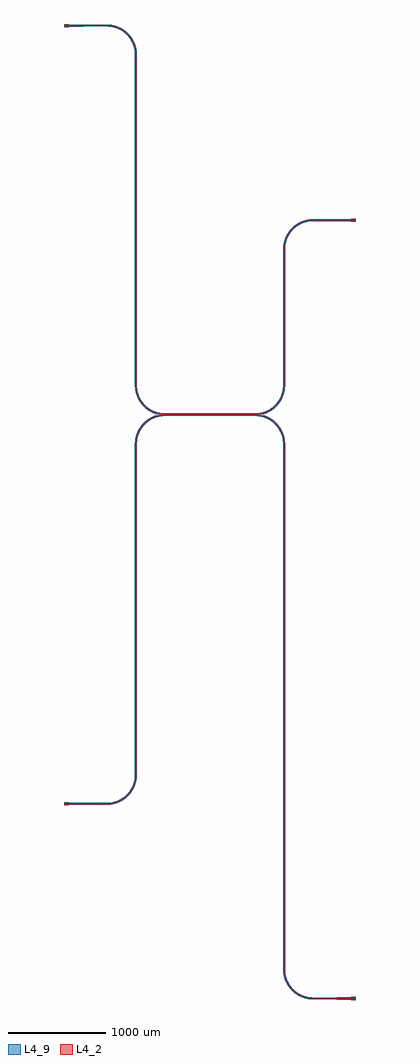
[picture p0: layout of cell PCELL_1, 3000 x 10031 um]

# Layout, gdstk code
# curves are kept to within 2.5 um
import gdstk
lib = gdstk.Library(unit=1e-6, precision=5e-09)
def R(c, l, rs):  # rectangles x0, y0, x1, y1
    for r in rs: c.add(gdstk.rectangle(r[:2], r[2:], *l))
def P(c, l, *ps):  # polygons
    for p in ps: c.add(gdstk.Polygon(p, *l))
L4_2 = (4, 2)
L4_9 = (4, 9)

transition_wire_wire_lin = lib.new_cell('TRANSITION_WIRE_WIRE_LINEAR_1')
P(transition_wire_wire_lin, L4_2, [(50,7.5),(50,-7.5),(350,-1.9),(350,1.9)])
P(transition_wire_wire_lin, L4_9, [(50,15.5),(50,7.5),(50,-7.5),(50,-15.5),(350,-9.9),(350,-1.9),(350,1.9),(350,9.9)])

c_transition_wire_wire_lin = lib.new_cell('TRANSITION_WIRE_WIRE_LINEAR_2')
P(c_transition_wire_wire_lin, L4_2, [(50,1.9),(50,-1.9),(350,-7.5),(350,7.5)])
P(c_transition_wire_wire_lin, L4_9, [(50,9.9),(50,1.9),(50,-1.9),(50,-9.9),(350,-15.5),(350,-7.5),(350,7.5),(350,15.5)])

dongbo = lib.new_cell('Dongbo')
R(dongbo, L4_2, [(0,-7.5,50,7.5)])
P(dongbo, L4_9, [(0,-15.5),(50,-15.5),(50,-7.5),(50,7.5),(50,15.5),(0,15.5),(0,7.5),(0,-7.5)])

my_dircoup_2_wg1a = lib.new_cell('my_dircoup_2_wg1a')
P(my_dircoup_2_wg1a, L4_2, [(-759.6,-304.65),(-758.875,-281.855),(-756.7,-261.165),(-751.96,-235.59),(-746.575,-215.495),(-737.895,-190.98),(-729.43,-171.97),(-719.66,-153.6),(-708.635,-135.955),(-696.405,-119.12),(-683.03,-103.18),(-668.58,-88.215),(-649.1,-70.985),(-632.485,-58.46),(-615.035,-47.13),(-596.835,-37.04),(-573.17,-26.255),(-553.62,-19.14),(-528.56,-12.19),(-502.985,-7.45),(-477.1,-4.96),(-461.49,-4.55),(0,-4.55),(0,-0.75),(-472.035,-0.935),(-498.29,-3),(-524.27,-7.345),(-549.765,-13.94),(-574.595,-22.735),(-598.56,-33.655),(-616.99,-43.87),(-634.665,-55.35),(-655.56,-71.38),(-674.975,-89.175),(-689.345,-104.585),(-702.61,-120.96),(-714.695,-138.225),(-725.55,-156.285),(-737.3,-179.855),(-745.195,-199.395),(-753.115,-224.515),(-758.815,-250.225),(-762.25,-276.34),(-763.4,-304.65)])
P(my_dircoup_2_wg1a, L4_9, [(-751.6,-304.65),(-748.775,-262.275),(-740.36,-222.69),(-726.52,-184.655),(-704.8,-144.65),(-677.085,-108.535),(-647.97,-80.42),(-615.23,-56.63),(-574.85,-35.61),(-526.76,-19.985),(-471.625,-12.725),(0,-12.55),(0,7.25),(-472.315,7.06),(-531.21,-0.69),(-582.59,-17.385),(-625.72,-39.84),(-664.815,-68.765),(-702.34,-107.625),(-729.88,-147.7),(-754.515,-201.755),(-768.385,-259.52),(-771.4,-304.65)])

my_dircoup_2_wg2a = lib.new_cell('my_dircoup_2_wg2a')
P(my_dircoup_2_wg2a, L4_2, [(-763.4,304.65),(-762.68,281.82),(-760.525,261.09),(-755.83,235.47),(-750.495,215.325),(-743.78,195.595),(-733.505,171.66),(-723.815,153.205),(-712.88,135.465),(-700.75,118.52),(-687.475,102.455),(-673.125,87.34),(-653.78,69.9),(-633,54.19),(-615.45,42.95),(-592.49,30.645),(-573.41,22.26),(-548.825,13.655),(-523.59,7.205),(-497.89,2.95),(-471.92,0.93),(0,0.75),(0,4.55),(-461.49,4.55),(-476.93,4.95),(-497.43,6.725),(-522.805,10.92),(-547.725,17.295),(-572.005,25.79),(-590.84,34.07),(-613.51,46.22),(-630.84,57.32),(-647.36,69.585),(-663,82.965),(-681.185,101.15),(-694.565,116.79),(-706.83,133.31),(-717.93,150.64),(-730.08,173.31),(-738.36,192.145),(-745.325,211.51),(-750.94,231.31),(-756.01,256.525),(-758.89,282.085),(-759.6,304.65)])
P(my_dircoup_2_wg2a, L4_9, [(-771.4,304.65),(-768.45,259.99),(-758.155,213.01),(-742.99,173.03),(-719.545,131.035),(-693.465,97.15),(-658.875,63.73),(-619.53,36.07),(-576.375,14.83),(-525.235,-0.625),(-472.195,-7.065),(0,-7.25),(0,12.55),(-471.515,12.725),(-521.16,18.75),(-569.035,33.22),(-605.1,50.585),(-638.43,72.755),(-668.395,99.295),(-694.415,129.71),(-720.66,172.29),(-737.71,213.955),(-748.105,257.765),(-751.6,304.65)])

my_dircoup_2_wg1b = lib.new_cell('my_dircoup_2_wg1b')
P(my_dircoup_2_wg1b, L4_2, [(0,-4.55),(471.79,-4.73),(497.43,-6.725),(522.805,-10.92),(547.725,-17.295),(572.005,-25.79),(590.84,-34.07),(613.51,-46.22),(630.84,-57.32),(647.36,-69.585),(663,-82.965),(681.185,-101.15),(694.565,-116.79),(706.83,-133.31),(717.93,-150.64),(730.08,-173.31),(738.36,-192.145),(745.325,-211.51),(750.94,-231.31),(756.01,-256.525),(758.89,-282.085),(759.6,-304.65),(763.4,-304.65),(762.68,-281.82),(760.525,-261.09),(755.83,-235.47),(750.495,-215.325),(743.78,-195.595),(733.505,-171.66),(723.815,-153.205),(712.88,-135.465),(700.75,-118.52),(687.475,-102.455),(673.125,-87.34),(653.78,-69.9),(633,-54.19),(615.45,-42.95),(592.49,-30.645),(573.41,-22.26),(548.825,-13.655),(523.59,-7.205),(497.89,-2.95),(471.92,-0.93),(0,-0.75)])
P(my_dircoup_2_wg1b, L4_9, [(0,-12.55),(471.515,-12.725),(521.16,-18.75),(564.37,-31.4),(600.73,-48.145),(634.44,-69.735),(664.855,-95.755),(691.395,-125.72),(716.005,-163.42),(736.135,-209.205),(748.105,-257.765),(751.6,-304.65),(771.4,-304.65),(768.45,-259.99),(758.155,-213.01),(740.71,-168.19),(716.545,-126.605),(686.23,-89.265),(650.51,-57.06),(614.905,-33.38),(571.39,-12.89),(514.73,2.645),(461.545,7.25),(0,7.25)])

my_dircoup_2_wg2b = lib.new_cell('my_dircoup_2_wg2b')
P(my_dircoup_2_wg2b, L4_2, [(0,0.75),(471.92,0.93),(497.89,2.95),(523.59,7.205),(548.825,13.655),(573.41,22.26),(592.49,30.645),(615.45,42.95),(633,54.19),(653.78,69.9),(673.125,87.34),(687.475,102.455),(700.75,118.52),(712.88,135.465),(723.815,153.205),(733.505,171.66),(743.78,195.595),(750.495,215.325),(755.83,235.47),(760.525,261.09),(762.68,281.82),(763.4,304.65),(759.6,304.65),(758.89,282.085),(756.01,256.525),(750.94,231.31),(745.325,211.51),(738.36,192.145),(730.08,173.31),(717.93,150.64),(706.83,133.31),(694.565,116.79),(681.185,101.15),(663,82.965),(647.36,69.585),(630.84,57.32),(613.51,46.22),(590.84,34.07),(572.005,25.79),(547.725,17.295),(522.805,10.92),(497.43,6.725),(476.93,4.95),(461.49,4.55),(0,4.55)])
P(my_dircoup_2_wg2b, L4_9, [(0,-7.25),(472.195,-7.065),(525.235,-0.625),(576.375,14.83),(619.53,36.07),(658.875,63.73),(693.465,97.15),(719.545,131.035),(742.99,173.03),(758.155,213.01),(768.45,259.99),(771.4,304.65),(751.6,304.65),(748.105,257.765),(737.71,213.955),(720.66,172.29),(694.415,129.71),(668.395,99.295),(638.43,72.755),(605.1,50.585),(569.035,33.22),(521.16,18.75),(471.515,12.725),(0,12.55)])

my_dircoup_2 = lib.new_cell('my_dircoup_2')
my_dircoup_2.add(gdstk.Reference(my_dircoup_2_wg1a, (0,0)))
my_dircoup_2.add(gdstk.Reference(my_dircoup_2_wg2a, (0,0)))
my_dircoup_2.add(gdstk.Reference(my_dircoup_2_wg1b, (0,0)))
my_dircoup_2.add(gdstk.Reference(my_dircoup_2_wg2b, (0,0)))

pcell_1_link1 = lib.new_cell('PCELL_1_link1')
P(pcell_1_link1, L4_2, [(2263.4,304.65),(2263.4,1699.99),(2263.8,1715.43),(2264.995,1730.82),(2267.83,1751.2),(2270.875,1766.335),(2277.675,1791.14),(2282.77,1805.71),(2288.615,1819.995),(2295.195,1833.955),(2302.485,1847.56),(2310.47,1860.77),(2319.13,1873.55),(2328.435,1885.86),(2338.37,1897.675),(2348.9,1908.96),(2360,1919.685),(2371.645,1929.82),(2383.795,1939.34),(2405.085,1953.77),(2418.43,1961.525),(2432.16,1968.58),(2455.79,1978.73),(2480.21,1986.805),(2505.235,1992.74),(2530.68,1996.505),(2551.21,1997.92),(2650,1998.1),(2650,2001.9),(2551.08,2001.72),(2530.29,2000.28),(2509.645,1997.415),(2494.32,1994.33),(2479.175,1990.46),(2454.445,1982.28),(2430.51,1972.005),(2416.605,1964.86),(2403.09,1957.005),(2390,1948.46),(2377.37,1939.25),(2365.235,1929.395),(2353.625,1918.93),(2335.525,1900.195),(2325.465,1888.23),(2316.04,1875.76),(2301.8,1853.95),(2294.18,1840.3),(2287.275,1826.275),(2281.11,1811.91),(2275.69,1797.25),(2271.04,1782.325),(2267.17,1767.18),(2264.085,1751.855),(2261.8,1736.39),(2260.005,1715.625),(2259.6,1700.01),(2259.6,304.65)])
P(pcell_1_link1, L4_9, [(2271.4,304.65),(2271.4,1699.955),(2278.675,1764.555),(2295.94,1816.775),(2322.755,1864.795),(2358.145,1906.895),(2400.85,1941.555),(2449.33,1967.535),(2506.745,1984.885),(2551.485,1989.925),(2650,1990.1),(2650,2009.9),(2550.805,2009.715),(2503.01,2004.33),(2451.61,1989.76),(2398.895,1963.815),(2352.025,1928.38),(2309.535,1880.42),(2277.815,1824.745),(2259.37,1768.96),(2251.6,1700.045),(2251.6,304.65)])

pcell_1_link2 = lib.new_cell('PCELL_1_link2')
P(pcell_1_link2, L4_2, [(2259.6,-304.65),(2259.6,-5700.01),(2260.32,-5720.83),(2261.8,-5736.39),(2264.085,-5751.855),(2267.17,-5767.18),(2271.04,-5782.325),(2275.69,-5797.25),(2283.08,-5816.735),(2289.495,-5830.99),(2296.64,-5844.895),(2304.495,-5858.41),(2313.04,-5871.5),(2322.25,-5884.13),(2335.525,-5900.195),(2346.19,-5911.625),(2361.305,-5925.975),(2373.27,-5936.035),(2385.74,-5945.46),(2398.68,-5954.23),(2412.055,-5962.315),(2425.835,-5969.7),(2439.975,-5976.36),(2454.445,-5982.28),(2469.2,-5987.445),(2484.2,-5991.835),(2499.41,-5995.445),(2525.11,-5999.7),(2551.08,-6001.72),(2650,-6001.9),(2650,-5998.1),(2546.07,-5997.7),(2520.465,-5995.26),(2495.165,-5990.625),(2470.36,-5983.825),(2455.79,-5978.73),(2441.505,-5972.885),(2427.545,-5966.305),(2413.94,-5959.015),(2400.73,-5951.03),(2387.95,-5942.37),(2375.64,-5933.065),(2360,-5919.685),(2348.9,-5908.96),(2338.37,-5897.675),(2328.435,-5885.86),(2319.13,-5873.55),(2307.73,-5856.415),(2299.975,-5843.07),(2292.92,-5829.34),(2286.585,-5815.265),(2279.29,-5796.025),(2274.695,-5781.29),(2270.875,-5766.335),(2267.83,-5751.2),(2265.575,-5735.93),(2264.11,-5720.565),(2263.4,-5699.99),(2263.4,-304.65)])
P(pcell_1_link2, L4_9, [(2251.6,-304.65),(2252.34,-5721.38),(2264.845,-5789.64),(2292.23,-5853.405),(2329.535,-5905.5),(2381.08,-5951.965),(2436.755,-5983.685),(2497.765,-6003.275),(2545.46,-6009.485),(2650,-6009.9),(2650,-5990.1),(2546.485,-5989.71),(2496.945,-5982.825),(2440.16,-5963.505),(2384.57,-5929.895),(2341.07,-5888.595),(2306.995,-5839.23),(2283.8,-5783.91),(2272.09,-5720.015),(2271.4,-304.65)])

pcell_1_link3 = lib.new_cell('PCELL_1_link3')
P(pcell_1_link3, L4_2, [(350,3998.1),(448.79,3997.92),(474.43,3995.925),(499.805,3991.73),(514.825,3988.165),(529.64,3983.825),(544.21,3978.73),(558.495,3972.885),(581.57,3961.525),(594.915,3953.77),(607.84,3945.33),(620.31,3936.235),(632.295,3926.51),(643.76,3916.175),(658.185,3901.5),(668.32,3889.855),(677.84,3877.705),(686.72,3865.08),(694.93,3852.01),(702.455,3838.535),(709.27,3824.685),(715.36,3810.505),(720.71,3796.025),(725.305,3781.29),(730.23,3761.305),(733.01,3746.125),(735.005,3730.82),(736.2,3715.43),(736.6,3699.99),(736.6,304.65),(740.4,304.65),(740.4,3700.01),(739.995,3715.625),(738.78,3731.21),(735.915,3751.855),(732.83,3767.18),(728.96,3782.325),(724.31,3797.25),(718.89,3811.91),(712.725,3826.275),(705.82,3840.3),(698.2,3853.95),(686.96,3871.5),(677.75,3884.13),(667.895,3896.265),(657.43,3907.875),(646.375,3918.93),(634.765,3929.395),(622.63,3939.25),(610,3948.46),(596.91,3957.005),(583.395,3964.86),(569.49,3972.005),(555.235,3978.42),(540.665,3984.085),(525.825,3988.995),(510.75,3993.125),(495.48,3996.475),(469.71,4000.28),(443.71,4001.855),(350,4001.9)])
P(pcell_1_link3, L4_9, [(350,3990.1),(448.515,3989.925),(498.16,3983.9),(555.275,3965.56),(603.295,3938.745),(648.875,3899.75),(688.05,3847.93),(714.71,3788.695),(727.045,3729.99),(728.6,304.65),(748.4,304.65),(746.74,3732.04),(731.88,3799.825),(702.315,3862.605),(659.515,3917.235),(605.635,3960.965),(543.375,3991.615),(475.855,4007.64),(350,4009.9)])

pcell_1_link4 = lib.new_cell('PCELL_1_link4')
P(pcell_1_link4, L4_2, [(350,-4001.9),(448.92,-4001.72),(474.89,-3999.7),(500.59,-3995.445),(525.825,-3988.995),(540.665,-3984.085),(555.235,-3978.42),(569.49,-3972.005),(583.395,-3964.86),(596.91,-3957.005),(610,-3948.46),(622.63,-3939.25),(634.765,-3929.395),(646.375,-3918.93),(657.43,-3907.875),(667.895,-3896.265),(677.75,-3884.13),(686.96,-3871.5),(698.2,-3853.95),(705.82,-3840.3),(712.725,-3826.275),(718.89,-3811.91),(724.31,-3797.25),(728.96,-3782.325),(732.83,-3767.18),(735.915,-3751.855),(738.78,-3731.21),(739.995,-3715.625),(740.4,-3700.01),(740.4,-304.65),(736.6,-304.65),(736.6,-3699.99),(736.2,-3715.43),(735.005,-3730.82),(733.01,-3746.125),(730.23,-3761.305),(725.305,-3781.29),(720.71,-3796.025),(715.36,-3810.505),(709.27,-3824.685),(702.455,-3838.535),(694.93,-3852.01),(686.72,-3865.08),(677.84,-3877.705),(668.32,-3889.855),(658.185,-3901.5),(647.46,-3912.6),(636.175,-3923.13),(624.36,-3933.065),(612.05,-3942.37),(599.27,-3951.03),(586.06,-3959.015),(572.455,-3966.305),(558.495,-3972.885),(544.21,-3978.73),(529.64,-3983.825),(504.835,-3990.625),(479.535,-3995.26),(453.93,-3997.7),(350,-3998.1)])
P(pcell_1_link4, L4_9, [(350,-4009.9),(454.54,-4009.485),(502.235,-4003.275),(563.245,-3983.685),(614.545,-3955.045),(666.88,-3909.475),(705.08,-3858.03),(733.56,-3794.745),(746.74,-3732.04),(748.4,-304.65),(728.6,-304.65),(727.045,-3729.99),(714.71,-3788.695),(690.565,-3843.6),(655.645,-3892.37),(611.44,-3932.915),(555.275,-3965.56),(498.16,-3983.9),(448.515,-3989.925),(350,-3990.1)])

pcell_1 = lib.new_cell('PCELL_1')
pcell_1.add(gdstk.Reference(transition_wire_wire_lin, (0,4000)))
pcell_1.add(gdstk.Reference(c_transition_wire_wire_lin, (2600,-6000)))
pcell_1.add(gdstk.Reference(dongbo, (2950,-6000)))
pcell_1.add(gdstk.Reference(c_transition_wire_wire_lin, (2600,2000)))
pcell_1.add(gdstk.Reference(dongbo, (2950,2000)))
pcell_1.add(gdstk.Reference(my_dircoup_2, (1500,0)))
pcell_1.add(gdstk.Reference(dongbo, (0,-4000)))
pcell_1.add(gdstk.Reference(dongbo, (0,4000)))
pcell_1.add(gdstk.Reference(transition_wire_wire_lin, (0,-4000)))
pcell_1.add(gdstk.Reference(pcell_1_link1, (0,0)))
pcell_1.add(gdstk.Reference(pcell_1_link2, (0,0)))
pcell_1.add(gdstk.Reference(pcell_1_link3, (0,0)))
pcell_1.add(gdstk.Reference(pcell_1_link4, (0,0)))

lib.write_gds('PCELL_1.gds')
